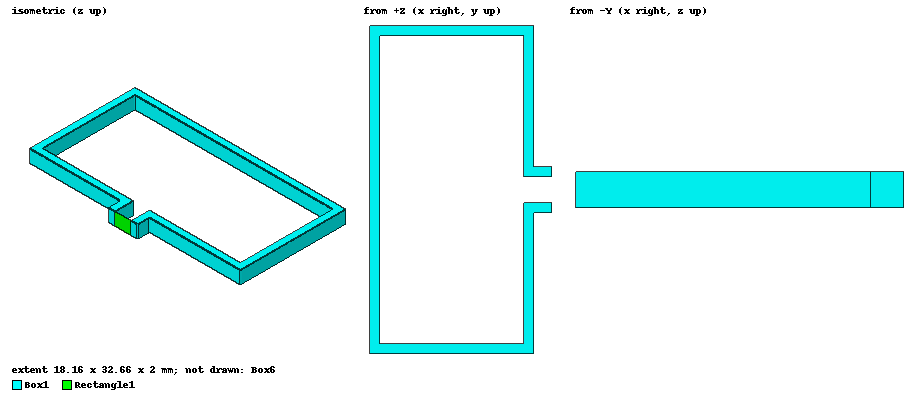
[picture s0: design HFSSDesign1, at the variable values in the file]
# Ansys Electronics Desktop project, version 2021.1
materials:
  vacuum: permittivity=1
  copper: permeability=0.999991 conductivity=58000000
  air: permittivity=1.0006 permeability=1.0000004
  pec: conductivity=1e+30

design HFSSDesign1 (HFSS, DrivenModal, model units mm)
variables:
  w = 16.33mm  # optimise 8.165mm..24.495mm
  l = 32.66mm  # optimise 16.33mm..48.99mm
  h = 2mm
  sd = 2.5mm
  l2 = 2.835mm  # optimise 1.4175mm..4.2525mm
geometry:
  Box1 [pec] = box(corner=(-w/2, -l/2, 0mm), size=(w, l, h))
  Box2 = box(corner=(-w/2+1mm, -l/2+1mm, 0mm), size=(w-2mm, l-2mm, h))
  Box1.subtract(Box2)
  Box3 = box(corner=(5mm, -sd/2, 0mm), size=(5mm, sd, h))
  Box1.subtract(Box3)
  Box4 = box(corner=(w/2-1mm, -sd/2, 0mm), size=(l2, -1mm, h))
  Box5 = box(corner=(w/2-1mm, sd/2, 0mm), size=(l2, 1mm, h))
  Box1.unite(Box4, Box5)
  Rectangle1 = rectangle(corner=(10mm, -1.25mm, 2mm), y_size=2.5mm, z_size=-2mm)
  Box6 [vacuum] = box(corner=(w/2+8mm, l/2+8mm, -8mm), size=(-w-16mm, -l-16mm, h+16mm))
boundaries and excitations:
  Rad1: Radiation Objects=Box6
  1: Lumped Port Objects=Rectangle1 Modes{Mode1{IntLine{middle of Rectangle1.edge(y opposite corner) -> middle of Rectangle1.edge(y at corner)} CharImp=Zpi RenormImp=50ohm}} Impedance=50ohm
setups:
  Setup1: HfssDriven Frequency=11GHz MaxDeltaS=0.02 MaximumPasses=6 MinimumPasses=1 MinimumConvergedPasses=1 PercentRefinement=30 BasisOrder=1 PortAccuracy=2
    sweep Sweep: 6GHz to 16GHz step 0.01GHz; Type=Fast SaveFields
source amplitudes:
  1:1: 1W 0deg
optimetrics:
  OptimizationSetup1: Optimization Optimizer="Quasi Newton" AnalysisStopOptions{StopForNumIteration MaxNumIteration=1000 MinNumIteration=10} CostFuncNormType=L2 Acceptable_Cost=0 Noise=0.0001 UpdateDesignWhenDone
    goal dB(S(1,1)) <= 15 weight 1 on Setup1 : Sweep at Freq 10.98GHz to 11.02GHz
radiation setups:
  Infinite Sphere1: Infinite Sphere Theta=-180deg..180deg step 2deg Phi=0deg..360deg step 2deg
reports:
  S Parameter Plot 1: dB(S(1,1)) vs Freq on Setup1 : Sweep; markers m1 at 11GHz
  Gain Plot 5: dB(GainTotal) vs Theta on Setup1 : Sweep, Infinite Sphere1 [Phi=0deg Freq=11GHz]
  Gain Plot 6: dB(GainTotal) vs Theta on Setup1 : Sweep, Infinite Sphere1 [Phi=90deg Freq=11GHz]
  Gain Plot 7: dB(GainTotal) vs Phi, Theta on Setup1 : Sweep, Infinite Sphere1 [Freq=11GHz]
  Realized Gain Plot 1: dB(RealizedGainPhi), dB(RealizedGainTheta) vs Theta on Setup1 : Sweep, Infinite Sphere1 [Phi=0deg,90deg Freq=11GHz]
